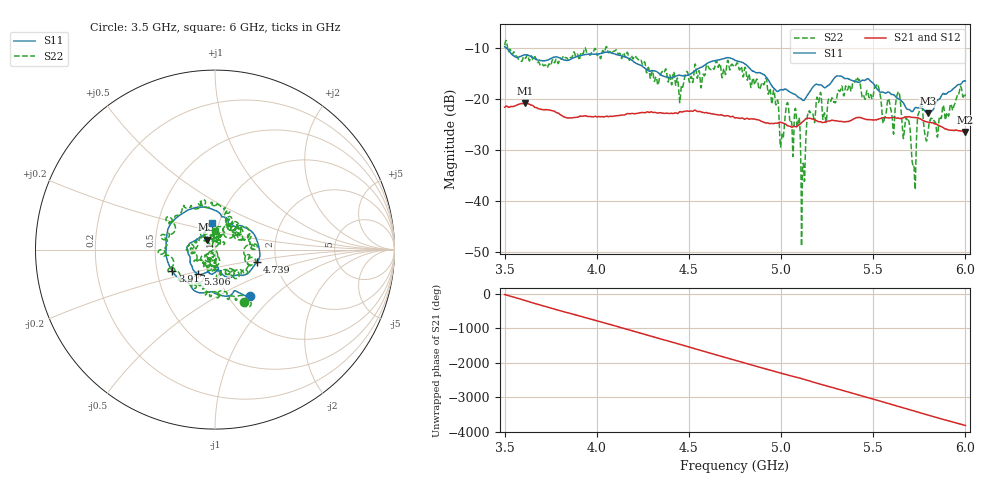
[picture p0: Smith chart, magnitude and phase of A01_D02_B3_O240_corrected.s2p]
! Created with skrf 1.9.0 (http://scikit-rf.org).
# Hz S RI R 50.0
!freq ReS11 ImS11 ReS21 ImS21 ReS12 ImS12 ReS22 ImS22
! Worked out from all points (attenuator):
!   1601 points, 3.5 GHz to 6 GHz, reference 50 ohm
!   highest |S21| = -20.90 dB at 3.611 GHz (marker M1); lowest = -26.5 dB at 6 GHz (marker M2)
!   lowest |S11| = -22.9 dB at 5.797 GHz (marker M3), VSWR 1.15, Z = 45.3 + j4.97 ohm
!   |S11| at or under -10 dB: 3.507 GHz to end of sweep
!   |S22| runs from -48.8 to -8.6 dB; largest |S21 - S12| = 0.0012
!   S11 on the Smith chart (normalised r, x): 3.5 GHz: 1.26, -0.72; 3.917 GHz: 0.60, -0.16; 4.739 GHz: 1.59, -0.24; 5.306 GHz: 0.79, -0.22; 6 GHz: 0.93, +0.28
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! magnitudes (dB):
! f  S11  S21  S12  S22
! 3.5 GHz  -9.8  -21.6  -21.6  -9.5
! 3.611 GHz  -11.4  -20.9  -20.9  -12.0
! 3.917 GHz  -11.5  -23.4  -23.4  -10.9
! 4.334 GHz  -15.0  -22.8  -22.7  -17.1
! 4.739 GHz  -12.2  -23.4  -23.5  -13.4
! 4.75 GHz  -12.5  -23.8  -23.6  -13.6
! 4.914 GHz  -15.5  -24.7  -24.7  -16.3
! 4.973 GHz  -18.4  -24.8  -24.7  -21.0
! 5.003 GHz  -18.2  -24.7  -24.7  -27.6
! 5.031 GHz  -18.2  -25.2  -25.0  -20.9
! 5.086 GHz  -19.5  -25.4  -25.3  -25.3
! 5.119 GHz  -20.3  -24.4  -24.3  -32.7
! 5.145 GHz  -19.2  -23.8  -23.8  -23.0
! 5.167 GHz  -17.9  -23.9  -23.9  -22.9
! 5.306 GHz  -15.5  -24.4  -24.3  -18.9
! 5.584 GHz  -18.7  -23.7  -23.7  -20.0
! 5.638 GHz  -20.0  -23.8  -23.7  -18.6
! 5.691 GHz  -22.1  -23.5  -23.4  -24.2
! 5.719 GHz  -22.2  -23.7  -23.6  -32.9
! 5.753 GHz  -21.7  -23.9  -23.8  -21.9
! 5.797 GHz  -22.9  -24.6  -24.5  -26.6
! 6 GHz  -16.5  -26.5  -26.4  -19.5
